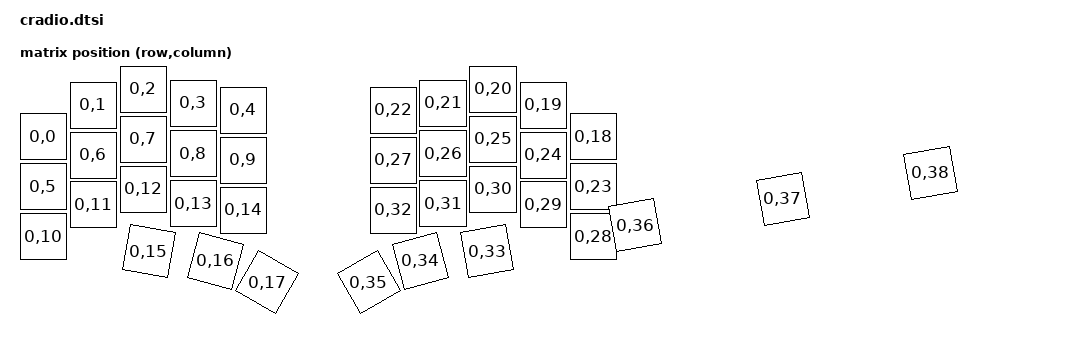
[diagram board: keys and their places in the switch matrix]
/*
 * Copyright (c) 2020 The ZMK Contributors
 *
 * SPDX-License-Identifier: MIT
 */

#include <dt-bindings/zmk/matrix_transform.h>
#include <physical_layouts.dtsi>

#include <dt-bindings/zmk/pointing.h>
#include <input/processors.dtsi>
#include <zephyr/dt-bindings/input/input-event-codes.h>

&mmv {
  acceleration-exponent = <1>;          // 1
  time-to-max-speed-ms = <5000>;         // 300
  delay-ms = <0>;                       // 0
};

&msc {
  acceleration-exponent = <0>;          // 0
  time-to-max-speed-ms = <3000>;         // 300
  delay-ms = <0>;                       // 0
};

/ {
    pro_micro: connector {
        compatible = "arduino-pro-micro";
        #gpio-cells = <2>;
        gpio-map-mask = <0xffffffff 0xffffffc0>;
        gpio-map-pass-thru = <0 0x3f>;
        gpio-map
            = <0 0 &gpio0 8 0>      /* D0 */
            , <1 0 &gpio0 6 0>      /* D1 */
            , <2 0 &gpio0 17 0>     /* D2 */
            , <3 0 &gpio0 20 0>     /* D3 */
            , <4 0 &gpio0 22 0>     /* D4/A6 */
            , <5 0 &gpio0 24 0>     /* D5 */
            , <6 0 &gpio1 0 0>      /* D6/A7 */
            , <7 0 &gpio0 11 0>     /* D7 */
            , <8 0 &gpio1 4 0>      /* D8/A8 */
            , <9 0 &gpio1 6 0>      /* D9/A9 */
            , <10 0 &gpio0 9 0>     /* D10/A10 */
            , <16 0 &gpio0 10 0>    /* D16 */
            , <14 0 &gpio1 11 0>    /* D14 */
            , <15 0 &gpio1 13 0>    /* D15 */
            , <18 0 &gpio1 15 0>    /* D18/A0 */
            , <19 0 &gpio0 2 0>     /* D19/A1 */
            , <20 0 &gpio0 29 0>    /* D20/A2 */
            , <21 0 &gpio0 31 0>    /* D21/A3 */
            , <22 0 &gpio1 1 0>    /* Left */
            , <23 0 &gpio1 2 0>    /* Mid */
            , <24 0 &gpio1 7 0>    /* Right */
            ;
    };

    cuddlykeyboards_ferris_layout: cuddlykeyboards_ferris_layout {
        compatible = "zmk,physical-layout";
        display-name = "Default";
    transform = <&default_transform>;

        keys  //                     w   h    x    y     rot    rx    ry
            = <&key_physical_attrs 100 100    0   95       0     0     0>
            , <&key_physical_attrs 100 100  100   32       0     0     0>
            , <&key_physical_attrs 100 100  200    0       0     0     0>
            , <&key_physical_attrs 100 100  300   28       0     0     0>
            , <&key_physical_attrs 100 100  400   42       0     0     0>
            , <&key_physical_attrs 100 100  700   42       0     0     0>
            , <&key_physical_attrs 100 100  800   28       0     0     0>
            , <&key_physical_attrs 100 100  900    0       0     0     0>
            , <&key_physical_attrs 100 100 1000   32       0     0     0>
            , <&key_physical_attrs 100 100 1100   95       0     0     0>
            , <&key_physical_attrs 100 100    0  195       0     0     0>
            , <&key_physical_attrs 100 100  100  132       0     0     0>
            , <&key_physical_attrs 100 100  200  100       0     0     0>
            , <&key_physical_attrs 100 100  300  129       0     0     0>
            , <&key_physical_attrs 100 100  400  142       0     0     0>
            , <&key_physical_attrs 100 100  700  142       0     0     0>
            , <&key_physical_attrs 100 100  800  129       0     0     0>
            , <&key_physical_attrs 100 100  900  100       0     0     0>
            , <&key_physical_attrs 100 100 1000  132       0     0     0>
            , <&key_physical_attrs 100 100 1100  195       0     0     0>
            , <&key_physical_attrs 100 100    0  295       0     0     0>
            , <&key_physical_attrs 100 100  100  231       0     0     0>
            , <&key_physical_attrs 100 100  200  200       0     0     0>
            , <&key_physical_attrs 100 100  300  229       0     0     0>
            , <&key_physical_attrs 100 100  400  242       0     0     0>
            , <&key_physical_attrs 100 100  700  242       0     0     0>
            , <&key_physical_attrs 100 100  800  229       0     0     0>
            , <&key_physical_attrs 100 100  900  200       0     0     0>
            , <&key_physical_attrs 100 100 1000  231       0     0     0>
            , <&key_physical_attrs 100 100 1100  295       0     0     0>
            , <&key_physical_attrs 100 100  200  355    1000   430   455>
            , <&key_physical_attrs 100 100  330  355    1500   430   455>
            , <&key_physical_attrs 100 100  430  355    3000   430   455>
            , <&key_physical_attrs 100 100  670  355 (-3000)   770   455>
            , <&key_physical_attrs 100 100  770  355 (-1500)   770   455>
            , <&key_physical_attrs 100 100  900  355 (-1000)   770   455>
            , <&key_physical_attrs 100 100  1200  355 (-1000)   770   455>
            , <&key_physical_attrs 100 100  1500  355 (-1000)   770   455>
            , <&key_physical_attrs 100 100  1800  355 (-1000)   770   455>
            ;
    };

    chosen {
        zmk,kscan = &kscan0;
    };

    default_transform: keymap_transform_0 {
        compatible = "zmk,matrix-transform";
        columns = <39>;
        rows = <1>;
        map = <
        RC(0,0)  RC(0,1)  RC(0,2)  RC(0,3)  RC(0,4)    RC(0,22) RC(0,21) RC(0,20) RC(0,19) RC(0,18)
        RC(0,5)  RC(0,6)  RC(0,7)  RC(0,8)  RC(0,9)    RC(0,27) RC(0,26) RC(0,25) RC(0,24) RC(0,23)
        RC(0,10) RC(0,11) RC(0,12) RC(0,13) RC(0,14)   RC(0,32) RC(0,31) RC(0,30) RC(0,29) RC(0,28)
                          RC(0,15) RC(0,16) RC(0,17)   RC(0,35) RC(0,34) RC(0,33) RC(0,36) RC(0,37) RC(0,38)
        >;
    };

    kscan0: kscan {
        compatible = "zmk,kscan-gpio-direct";
        wakeup-source;
    };

};
